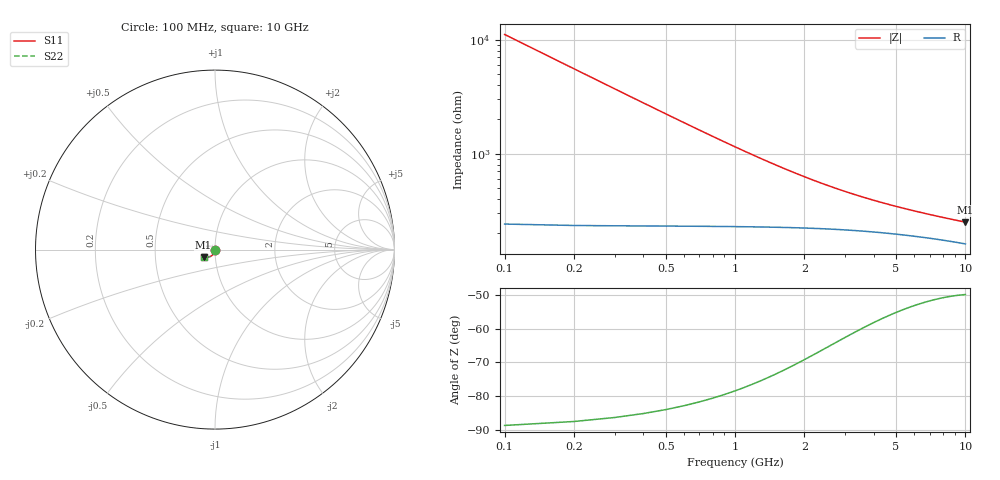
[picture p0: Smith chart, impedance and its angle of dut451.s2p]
! Touchstone file exported from HFSS 2024.1.0
!  File:  C:/UserFiles/LocalFiles/RDL_TSV_Batchsim/temp_TSV1_451_1779696329.aedt
!  Generated:  04:11:55 PM May 25, 2026
!  Design:  TSV1
!  Project:  temp_TSV1_451_1779696329
!  Setup:  Setup1
!  Solution:  Sweep
! Variables:
!  dtsv = 14.61um
!  hbump = 3um
!  htsv = 80.75um
!  lrdl = 252.1521522um
!  p = 40
!  p1 = 41.04um
!  t = 500um
!  trdl = 3um
!  wrdl = 24.89489489um
# GHz S MA R 50.000000
! Terminal data exported
! Port[1] = TSV22_T1
! Port[2] = TSV22_T2
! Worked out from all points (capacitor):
!   100 points, 100 MHz to 10 GHz, reference 50 ohm
!   read as one part in shunt: C = 144 fF near 100 MHz
!   lowest |Z| = 251 ohm at 10 GHz (marker M1)
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0.1  0.001958 -88.9  0.9999 -0.1  0.9999 -0.1  0.001958 -88.9
! Gamma 0 0 0 0
! Port Impedance 50 0 50 0
0.2  0.003909 -91.7  0.9997 -0.3  0.9997 -0.3  0.003909 -91.7
0.3  0.005853 -93.6  0.9995 -0.4  0.9995 -0.4  0.005853 -93.6
0.4  0.007785 -95.2  0.9991 -0.6  0.9991 -0.6  0.007785 -95.2
0.5  0.009701 -96.8  0.9987 -0.7  0.9987 -0.7  0.009701 -96.8
0.6  0.0116 -98.3  0.9981 -0.9  0.9981 -0.9  0.0116 -98.3
0.7  0.01347 -99.8  0.9975 -1.0  0.9975 -1.0  0.01347 -99.8
0.8  0.01531 -101.2  0.9968 -1.1  0.9968 -1.1  0.01531 -101.2
0.9  0.01712 -102.5  0.9961 -1.3  0.9961 -1.3  0.01712 -102.5
1.1  0.02063 -105.2  0.9944 -1.5  0.9944 -1.5  0.02063 -105.2
1.4  0.02559 -108.9  0.9915 -1.8  0.9915 -1.8  0.02559 -108.9
1.6  0.02868 -111.3  0.9894 -2.0  0.9894 -2.0  0.02868 -111.3
1.8  0.03159 -113.5  0.9873 -2.2  0.9873 -2.2  0.03159 -113.5
2.1  0.03562 -116.6  0.9841 -2.5  0.9841 -2.5  0.03562 -116.6
2.5  0.0404 -120.3  0.9798 -2.8  0.9798 -2.8  0.0404 -120.3
2.9  0.04457 -123.5  0.9757 -3.0  0.9757 -3.0  0.04457 -123.5
3.4  0.04906 -127.0  0.971 -3.3  0.971 -3.3  0.04906 -127.0
4.2  0.05493 -131.4  0.9643 -3.7  0.9643 -3.7  0.05493 -131.4
5.1  0.06016 -135.3  0.958 -4.1  0.958 -4.1  0.06016 -135.3
6.7  0.06718 -140.2  0.9492 -4.6  0.9492 -4.6  0.06718 -140.2
8.4  0.07268 -143.8  0.9424 -5.1  0.9424 -5.1  0.07268 -143.8
10  0.07664 -146.4  0.9376 -5.6  0.9376 -5.6  0.07664 -146.4
